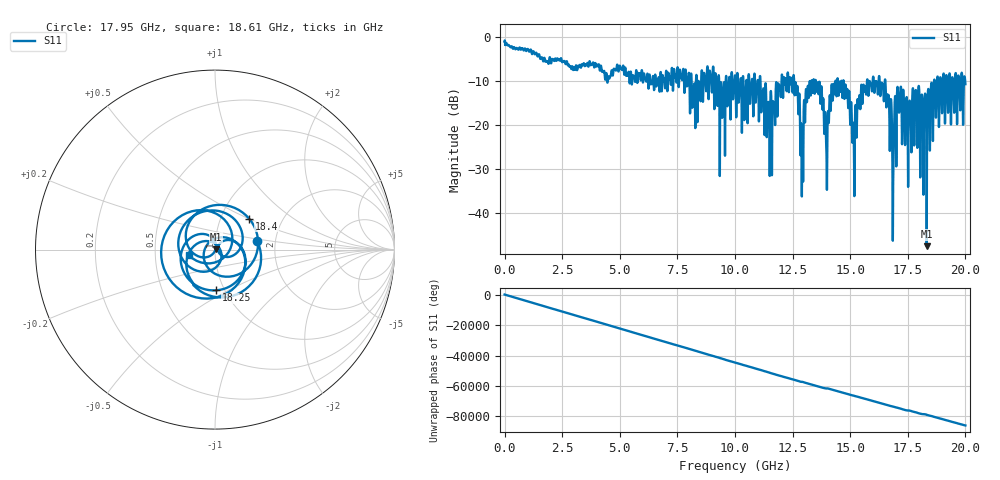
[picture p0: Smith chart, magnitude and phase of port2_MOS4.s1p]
! MS46122B
! 2250307/22442219
! 6/16/2025 12:51:54 PM
! C:\USERS\SPARKY\DOCUMENTS\VNA_DATA\JUNE16_2025\295K\PORT2_MOS4.S1P
! CHANNEL.1
! TR.MEASUREMENT
! RAW.DATA
# GHZ S RI R 50.0
! FREQ.GHZ  S11RE  S11IM
!; PortSelection: Port_1
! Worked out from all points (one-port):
!   10001 points, 1 MHz to 20 GHz, reference 50 ohm
!   lowest |S11| = -47.6 dB at 18.32 GHz (marker M1), VSWR 1.01, Z = 50.4 + j0.168 ohm
!   |S11| at or under -10 dB: 11.11 GHz to 12.01 GHz (909 MHz wide, 7.86 % of centre); 14.71 GHz to 15.73 GHz (1.015 GHz wide, 6.67 % of centre); 16.53 GHz to 18.64 GHz (2.113 GHz wide, 12 % of centre) (the widest 3 of 79)
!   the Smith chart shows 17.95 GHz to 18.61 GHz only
!   S11 on the Smith chart (normalised r, x): 17.95 GHz: 1.61, +0.16; 18.25 GHz: 0.92, -0.44; 18.4 GHz: 1.36, +0.50; 18.61 GHz: 0.74, -0.05
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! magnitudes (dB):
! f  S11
! 1 MHz  -1.0
! 2.501 GHz  -5.7
! 5.001 GHz  -6.5
! 7.501 GHz  -7.0
! 9.415 GHz  -13.7
! 10 GHz  -8.7
! 10.92 GHz  -13.1
! 11.58 GHz  -16.1
! 12.5 GHz  -12.6
! 12.9 GHz  -34.3
! 13.33 GHz  -9.8
! 13.74 GHz  -11.3
! 13.96 GHz  -24.8
! 14.37 GHz  -10.0
! 15 GHz  -19.9
! 15.18 GHz  -34.6
! 15.56 GHz  -11.9
! 16.18 GHz  -11.6
! 16.59 GHz  -14.1
! 16.81 GHz  -18.7
! 17.12 GHz  -17.1
! 17.5 GHz  -23.0
! 17.95 GHz  -12.4
! 18.25 GHz  -12.9
! 18.32 GHz  -47.6
! 18.4 GHz  -11.8
! 18.61 GHz  -16.5
! 20 GHz  -10.7
